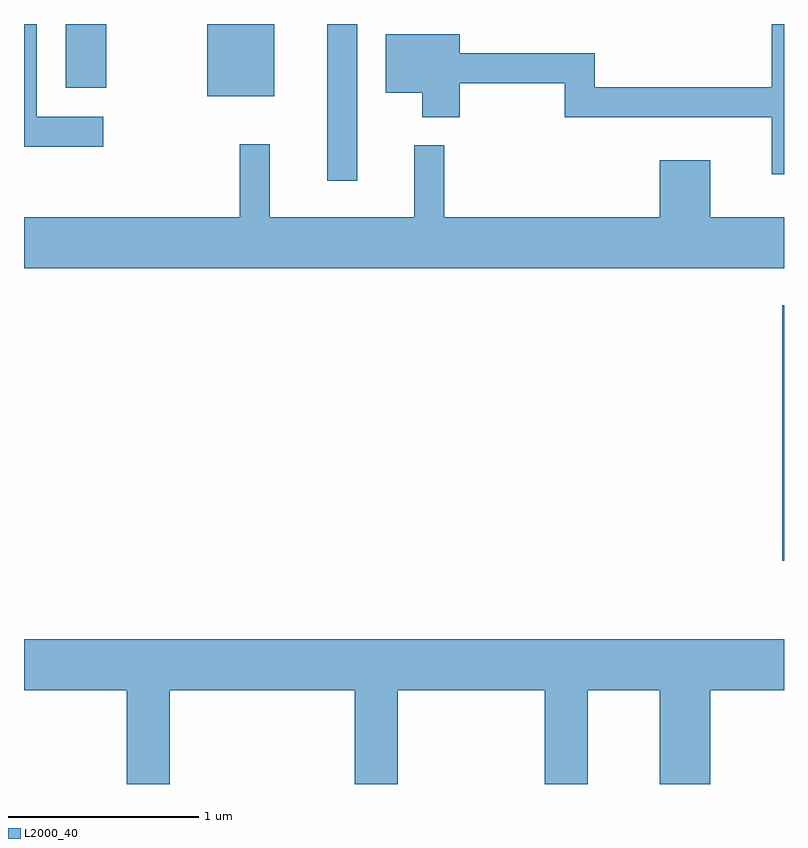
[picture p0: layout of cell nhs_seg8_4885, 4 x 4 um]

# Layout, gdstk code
import gdstk
lib = gdstk.Library(unit=1e-6, precision=1e-09)
def R(c, l, rs):  # rectangles x0, y0, x1, y1
    for r in rs: c.add(gdstk.rectangle(r[:2], r[2:], *l))
def P(c, l, *ps):  # polygons
    for p in ps: c.add(gdstk.Polygon(p, *l))
L2000_40 = (2000, 40)

nhs_seg8_4885 = lib.new_cell('nhs_seg8_4885')
R(nhs_seg8_4885, L2000_40, [(335.601,1861.518,335.611,1862.863), (333.206,1863.518,333.364,1864.342), (332.576,1863.961,332.929,1864.342), (331.831,1864.006,332.044,1864.342)])
P(nhs_seg8_4885, L2000_40, [(335.611,1864.342),(335.546,1864.342),(335.546,1864.009),(334.614,1864.009),(334.614,1864.189),(333.904,1864.189),(333.904,1864.289),(333.516,1864.289),(333.516,1863.981),(333.706,1863.981),(333.706,1863.851),(333.904,1863.851),(333.904,1864.031),(334.456,1864.031),(334.456,1863.851),(335.546,1863.851),(335.546,1863.551),(335.611,1863.551)],
  [(332.028,1863.854),(331.679,1863.854),(331.679,1864.342),(331.611,1864.342),(331.611,1863.696),(332.028,1863.696)],
  [(335.611,1863.324),(335.224,1863.324),(335.224,1863.624),(334.956,1863.624),(334.956,1863.324),(333.824,1863.324),(333.824,1863.703),(333.666,1863.703),(333.666,1863.324),(332.904,1863.324),(332.904,1863.708),(332.746,1863.708),(332.746,1863.324),(331.611,1863.324),(331.611,1863.056),(335.611,1863.056)],
  [(332.379,1860.836),(333.351,1860.836),(333.351,1860.342),(333.579,1860.342),(333.579,1860.836),(334.351,1860.836),(334.351,1860.342),(334.579,1860.342),(334.579,1860.836),(334.956,1860.836),(334.956,1860.342),(335.224,1860.342),(335.224,1860.836),(335.611,1860.836),(335.611,1861.104),(331.611,1861.104),(331.611,1860.836),(332.151,1860.836),(332.151,1860.342),(332.379,1860.342)])

lib.write_gds('nhs_seg8_4885.gds')
